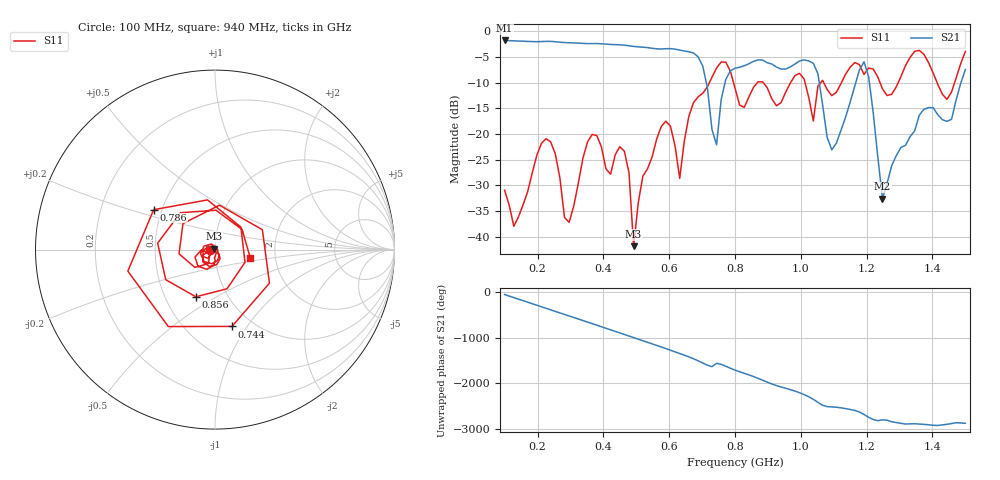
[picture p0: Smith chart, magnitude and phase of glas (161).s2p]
! NanoVNA-App
! Date: 2025-09-25 15:56:43
! Start: 100MHz Stop: 1,5GHz Points: 101
! S-Parameter data: F S11 S21 S12 S22
# Hz S RI R 50
!  Frequency  S11_Real  S11_Imag  S21_Real  S21_Imag  S12_Real  S12_Imag  S22_Real  S22_Imag
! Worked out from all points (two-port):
!   101 points, 100 MHz to 1.5 GHz, reference 50 ohm
!   highest |S21| = -1.80 dB at 100 MHz (marker M1); lowest = -32.6 dB at 1.248 GHz (marker M2)
!   |S21| within 3 dB of the highest: start of sweep to 684.4 MHz
!   lowest |S11| = -41.8 dB at 492 MHz (marker M3), VSWR 1.02, Z = 49.5 + j0.605 ohm
!   |S11| at or under -10 dB: start of sweep to 722.4 MHz; 795.5 MHz to 868.1 MHz (72.64 MHz wide, 8.73 % of centre); 885.8 MHz to 968.9 MHz (83.11 MHz wide, 8.96 % of centre) (the widest 3 of 7)
!   S12 and S22 are empty: the file has one direction only
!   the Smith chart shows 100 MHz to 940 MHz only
!   S11 on the Smith chart (normalised r, x): 100 MHz: 0.95, -0.01; 744 MHz: 0.81, -0.85; 786 MHz: 0.45, +0.24; 856 MHz: 0.71, -0.41; 940 MHz: 1.48, -0.14
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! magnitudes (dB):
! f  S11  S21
! 100 MHz  -31.0  -1.8
! 128 MHz  -38.0  -1.9
! 226 MHz  -20.9  -2.0
! 296 MHz  -37.2  -2.2
! 338 MHz  -24.7  -2.4
! 464 MHz  -23.4  -2.7
! 492 MHz  -41.8  -3.0
! 576 MHz  -18.5  -3.5
! 632 MHz  -28.6  -3.7
! 702 MHz  -12.1  -6.8
! 744 MHz  -7.2  -22.1
! 786 MHz  -7.8  -7.7
! 800 MHz  -11.1  -7.2
! 856 MHz  -10.9  -5.9
! 940 MHz  -13.9  -7.4
! 996 MHz  -8.2  -5.8
! 1.038 GHz  -17.5  -6.2
! 1.094 GHz  -12.5  -23.1
! 1.192 GHz  -8.4  -6.0
! 1.248 GHz  -11.2  -32.6
! 1.276 GHz  -12.3  -26.2
! 1.5 GHz  -3.9  -7.5
